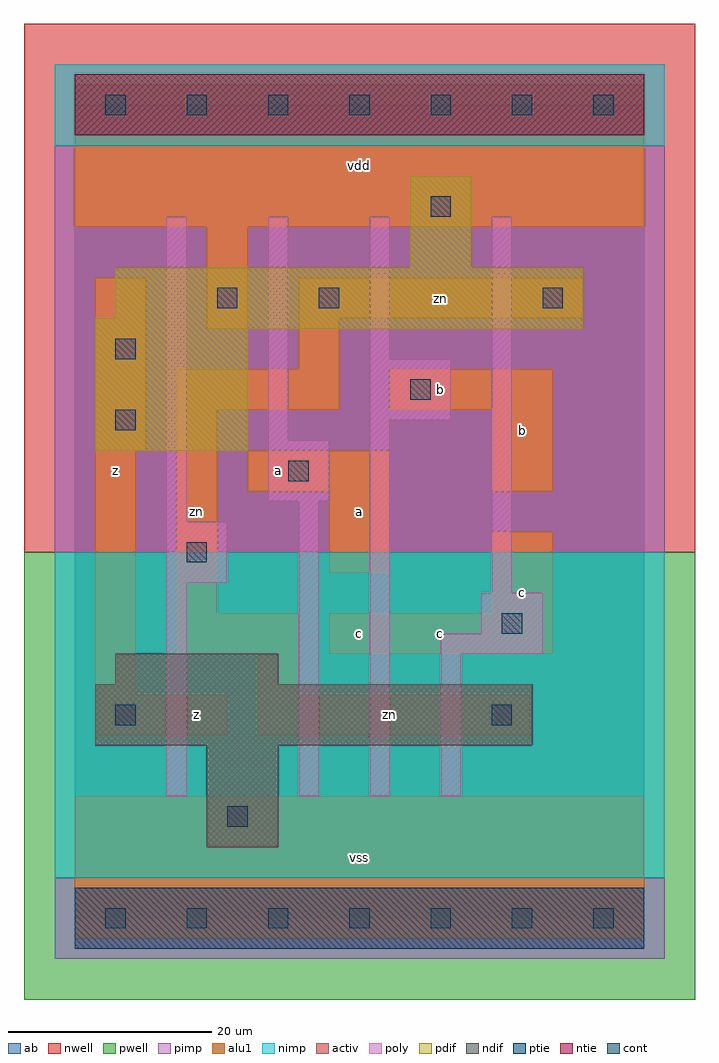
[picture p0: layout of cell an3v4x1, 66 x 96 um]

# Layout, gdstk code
import gdstk
lib = gdstk.Library(unit=1e-6, precision=1e-09)
def R(c, l, rs):  # rectangles x0, y0, x1, y1
    for r in rs: c.add(gdstk.rectangle(r[:2], r[2:], *l))
def A(c, l, x, y, w, h, nx, ny, dx, dy):  # array of equal rectangles
    R(c, l, [(x+i*dx, y+j*dy, x+i*dx+w, y+j*dy+h) for i in range(nx) for j in range(ny)])
ndif = (3, 0)
pdif = (4, 0)
ntie = (5, 0)
ptie = (6, 0)
cont = (25, 0)
pwell = (41, 0)
nwell = (42, 0)
activ = (43, 0)
pimp = (44, 0)
nimp = (45, 0)
poly = (46, 0)
alu1 = (49, 0)
ab = (63, 0)

an3v4x1 = lib.new_cell('an3v4x1')
R(an3v4x1, ndif, [(13,7,20,17), (2,17,45,23), (4,23,20,26)])
R(an3v4x1, pdif, [(2,46,17,58), (2,58,50,59), (4,59,50,64), (33,64,39,73)])
R(an3v4x1, ntie, [(0,77,56,83)])
R(an3v4x1, ptie, [(0,-3,56,3)])
A(an3v4x1, cont, 3, -1, 2, 2, 7, 2, 8, 80)
R(an3v4x1, cont, [(15,9,17,11), (4,19,6,21), (41,19,43,21), (42,28,44,30), (11,35,13,37), (21,43,23,45), (4,48,6,50), (33,51,35,53), (4,55,6,57), (14,60,16,62), (24,60,26,62), (46,60,48,62), (35,69,37,71)])
R(an3v4x1, pwell, [(-5,-8,61,36)])
R(an3v4x1, nwell, [(-5,36,61,88)])
R(an3v4x1, activ, [(0,-3,56,3), (13,7,20,17), (2,17,45,23), (4,23,20,26), (2,46,17,58), (2,58,50,59), (4,59,50,64), (33,64,39,73), (0,77,56,83)])
R(an3v4x1, pimp, [(-2,-4,58,4), (-2,36,58,76)])
R(an3v4x1, nimp, [(-2,4,58,36), (-2,76,58,84)])
R(an3v4x1, poly, [(9,12,11,33), (22,12,24,41), (29,12,31,49), (36,12,38,26), (36,26,46,28), (40,28,46,32), (41,32,43,69), (9,33,15,39), (9,39,11,69), (19,41,25,47), (19,47,21,69), (29,49,37,55), (29,55,31,69)])
R(an3v4x1, alu1, [(0,-2,56,12), (2,18,15,22), (18,18,45,22), (2,22,6,46), (18,22,22,26), (10,26,22,30), (25,26,47,30), (10,30,14,50), (41,30,47,38), (25,34,31,42), (17,42,31,46), (41,42,47,50), (2,46,7,63), (10,50,26,54), (31,50,47,54), (22,54,26,59), (13,58,17,68), (22,59,50,63), (0,68,56,82)])
R(an3v4x1, ab, [(0,0,56,80)])
an3v4x1.add(gdstk.Label('zn', (12,40), layer=49, texttype=0))
an3v4x1.add(gdstk.Label('zn', (31,20), layer=49, texttype=0))
an3v4x1.add(gdstk.Label('zn', (36,61), layer=49, texttype=0))
an3v4x1.add(gdstk.Label('z', (4,44), layer=49, texttype=0))
an3v4x1.add(gdstk.Label('z', (12,20), layer=49, texttype=0))
an3v4x1.add(gdstk.Label('a', (20,44), layer=49, texttype=0))
an3v4x1.add(gdstk.Label('vss', (28,6), layer=49, texttype=0))
an3v4x1.add(gdstk.Label('c', (28,28), layer=49, texttype=0))
an3v4x1.add(gdstk.Label('c', (36,28), layer=49, texttype=0))
an3v4x1.add(gdstk.Label('a', (28,40), layer=49, texttype=0))
an3v4x1.add(gdstk.Label('b', (36,52), layer=49, texttype=0))
an3v4x1.add(gdstk.Label('vdd', (28,74), layer=49, texttype=0))
an3v4x1.add(gdstk.Label('c', (44,32), layer=49, texttype=0))
an3v4x1.add(gdstk.Label('b', (44,48), layer=49, texttype=0))

lib.write_gds('an3v4x1.gds')
